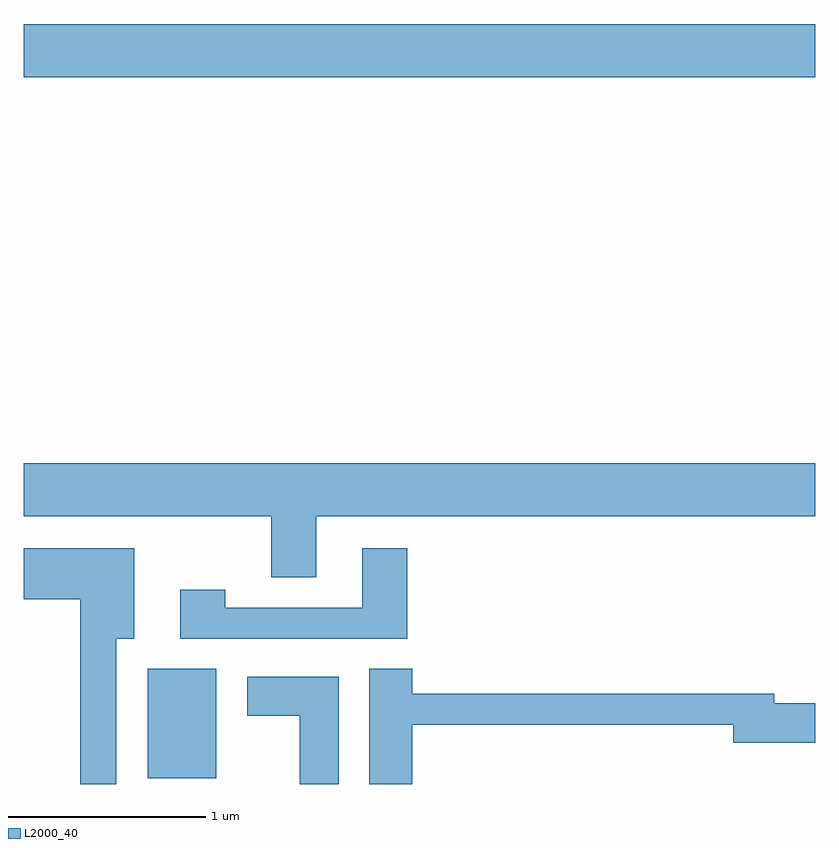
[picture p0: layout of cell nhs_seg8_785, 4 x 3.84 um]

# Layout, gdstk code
import gdstk
lib = gdstk.Library(unit=1e-6, precision=1e-09)
def R(c, l, rs):  # rectangles x0, y0, x1, y1
    for r in rs: c.add(gdstk.rectangle(r[:2], r[2:], *l))
def P(c, l, *ps):  # polygons
    for p in ps: c.add(gdstk.Polygon(p, *l))
L2000_40 = (2000, 40)

nhs_seg8_785 = lib.new_cell('nhs_seg8_785')
R(nhs_seg8_785, L2000_40, [(208.236,1888.371,208.584,1888.924), (207.611,1891.916,211.611,1892.184)])
P(nhs_seg8_785, L2000_40, [(209.089,1889.696),(211.611,1889.696),(211.611,1889.964),(207.611,1889.964),(207.611,1889.696),(208.861,1889.696),(208.861,1889.386),(209.089,1889.386)],
  [(209.549,1889.534),(209.321,1889.534),(209.321,1889.234),(208.629,1889.234),(208.629,1889.324),(208.401,1889.324),(208.401,1889.076),(209.549,1889.076)],
  [(208.079,1889.076),(208.169,1889.076),(208.169,1889.534),(207.611,1889.534),(207.611,1889.276),(207.896,1889.276),(207.896,1888.342),(208.079,1888.342)],
  [(209.574,1888.641),(211.196,1888.641),(211.196,1888.551),(211.611,1888.551),(211.611,1888.749),(211.404,1888.749),(211.404,1888.799),(209.574,1888.799),(209.574,1888.924),(209.356,1888.924),(209.356,1888.342),(209.574,1888.342)],
  [(209.204,1888.884),(208.741,1888.884),(208.741,1888.686),(209.006,1888.686),(209.006,1888.342),(209.204,1888.342)])

lib.write_gds('nhs_seg8_785.gds')
